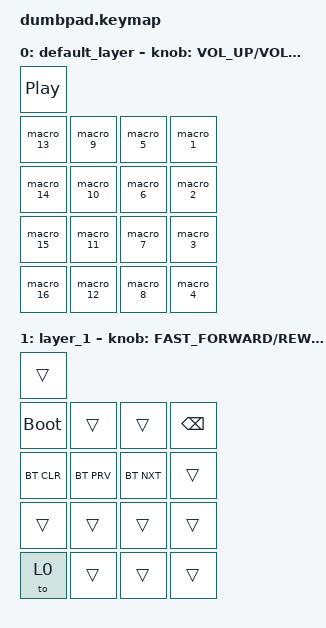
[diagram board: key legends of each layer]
/*
 * Copyright (c) 2022 The ZMK Contributors
 *
 * SPDX-License-Identifier: MIT
 */

#include <behaviors.dtsi>
#include <dt-bindings/zmk/bt.h>
#include <dt-bindings/zmk/ext_power.h>
#include <dt-bindings/zmk/keys.h>

/ {
    sensors {
        compatible = "zmk,keymap-sensors";
        sensors = <&left_encoder>;
        triggers-per-rotation = <15>;
    };

    behaviors {
        td: td {
            compatible = "zmk,behavior-tap-dance";
            label = "TD";
            #binding-cells = <0>;
            bindings = <&mo 1>, <&to 1>;
        };

        td_mul_div: td_mul_div {
            compatible = "zmk,behavior-tap-dance";
            label = "TD_MUL_DIV";
            #binding-cells = <0>;
            bindings = <&kp KP_MULTIPLY>, <&kp KP_DIVIDE>;
        };
    };

    combos {
        compatible = "zmk,combos";

        calculator {
            bindings = <&kp C_AL_CALC>;
            key-positions = <13 14>;
        };

        ext_off {
            bindings = <&ext_power EP_OFF>;
            key-positions = <4 0>;
        };
    };

    macros {
        macro_1: macro_1 {
            compatible = "zmk,behavior-macro";
            #binding-cells = <0>;
            bindings = <&kp LG(LA(LC(LS(J))))>;
            label = "MACRO_1";
        };

        macro_2: macro_2 {
            compatible = "zmk,behavior-macro";
            #binding-cells = <0>;
            bindings = <&kp LS(LA(LC(LG(W))))>;
            label = "MACRO_2";
        };

        macro_3: macro_3 {
            compatible = "zmk,behavior-macro";
            #binding-cells = <0>;
            bindings = <&kp LA(LC(LG(LS(E))))>;
            label = "MACRO_3";
        };

        macro_4: macro_4 {
            compatible = "zmk,behavior-macro";
            #binding-cells = <0>;
            bindings = <&kp LA(LC(LG(LS(R))))>;
            label = "MACRO_4";
        };

        macro_5: macro_5 {
            compatible = "zmk,behavior-macro";
            #binding-cells = <0>;
            bindings = <&kp LS(LA(LC(LG(T))))>;
            label = "MACRO_5";
        };

        macro_6: macro_6 {
            compatible = "zmk,behavior-macro";
            #binding-cells = <0>;
            bindings = <&kp LS(LA(LC(LG(Y))))>;
            label = "MACRO_6";
        };

        macro_7: macro_7 {
            compatible = "zmk,behavior-macro";
            #binding-cells = <0>;
            bindings = <&kp LS(LA(LC(LG(U))))>;
            label = "MACRO_7";
        };

        macro_8: macro_8 {
            compatible = "zmk,behavior-macro";
            #binding-cells = <0>;
            bindings = <&kp LS(LA(LC(LG(I))))>;
            label = "MACRO_8";
        };

        macro_9: macro_9 {
            compatible = "zmk,behavior-macro";
            #binding-cells = <0>;
            bindings = <&kp LS(LA(LC(LG(O))))>;
            label = "MACRO_9";
        };

        macro_10: macro_10 {
            compatible = "zmk,behavior-macro";
            #binding-cells = <0>;
            bindings = <&kp LS(LA(LC(LG(P))))>;
            label = "MACRO_10";
        };

        macro_11: macro_11 {
            compatible = "zmk,behavior-macro";
            #binding-cells = <0>;
            bindings = <&kp LS(LA(LC(LG(A))))>;
            label = "MACRO_11";
        };

        macro_12: macro_12 {
            compatible = "zmk,behavior-macro";
            #binding-cells = <0>;
            bindings = <&kp LS(LA(LC(LG(S))))>;
            label = "MACRO_12";
        };

        macro_13: macro_13 {
            compatible = "zmk,behavior-macro";
            #binding-cells = <0>;
            bindings = <&kp LS(LA(LC(LG(D))))>;
            label = "MACRO_13";
        };

        macro_14: macro_14 {
            compatible = "zmk,behavior-macro";
            #binding-cells = <0>;
            bindings = <&kp LS(LA(LC(LG(F))))>;
            label = "MACRO_14";
        };

        macro_15: macro_15 {
            compatible = "zmk,behavior-macro";
            #binding-cells = <0>;
            bindings = <&kp LS(LA(LC(LG(G))))>;
            label = "MACRO_15";
        };

        macro_16: macro_16 {
            compatible = "zmk,behavior-macro";
            #binding-cells = <0>;
            bindings = <&kp LS(LA(LC(LG(H))))>;
            label = "MACRO_16";
        };
    };

    keymap {
        compatible = "zmk,keymap";

        default_layer {
            bindings = <
&kp C_PP
&macro_13  &macro_9   &macro_5  &macro_1
&macro_14  &macro_10  &macro_6  &macro_2
&macro_15  &macro_11  &macro_7  &macro_3
&macro_16  &macro_12  &macro_8  &macro_4
            >;

            sensor-bindings = <&inc_dec_kp C_VOLUME_UP C_VOLUME_DOWN>;
        };

        layer_1 {
            bindings = <
&trans
&bootloader  &trans      &trans      &kp BACKSPACE
&bt BT_CLR   &bt BT_PRV  &bt BT_NXT  &trans
&trans       &trans      &trans      &trans
&to 0        &trans      &trans      &trans
            >;

            sensor-bindings = <&inc_dec_kp C_FAST_FORWARD C_REWIND>;
        };
    };
};
